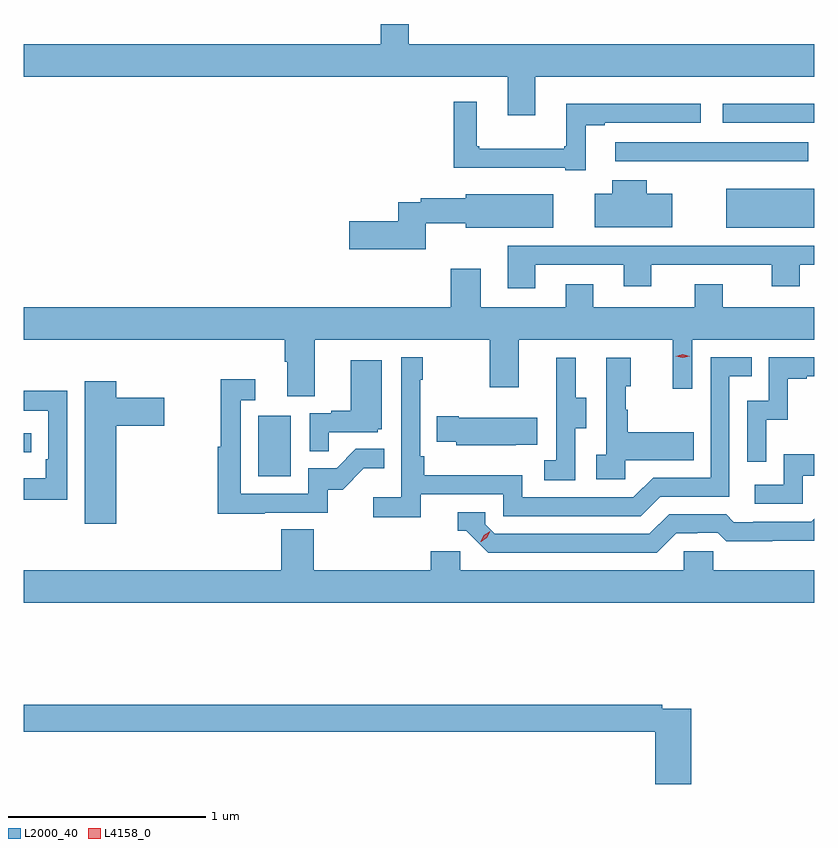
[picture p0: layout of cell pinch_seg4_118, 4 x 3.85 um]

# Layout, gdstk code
import gdstk
lib = gdstk.Library(unit=1e-6, precision=1e-09)
def R(c, l, rs):  # rectangles x0, y0, x1, y1
    for r in rs: c.add(gdstk.rectangle(r[:2], r[2:], *l))
def P(c, l, *ps):  # polygons
    for p in ps: c.add(gdstk.Polygon(p, *l))
L2000_40 = (2000, 40)
L4158_0 = (4158, 0)

pinch_seg4_118 = lib.new_cell('pinch_seg4_118')
R(pinch_seg4_118, L2000_40, [(1065.752,792.132,1065.916,792.439), (1064.566,792.255,1064.602,792.351), (1068.122,793.391,1068.566,793.588), (1068.105,793.923,1068.566,794.02)])
P(pinch_seg4_118, L2000_40, [(1067.155,794.156),(1068.566,794.156),(1068.566,794.32),(1066.513,794.32),(1066.513,794.423),(1066.373,794.423),(1066.373,794.32),(1064.566,794.32),(1064.566,794.156),(1067.015,794.156),(1067.015,793.962),(1067.155,793.962)],
  [(1067.41,793.911),(1067.506,793.911),(1067.506,793.923),(1067.992,793.923),(1067.992,794.02),(1067.312,794.02),(1067.312,793.804),(1067.301,793.804),(1067.301,793.792),(1066.87,793.792),(1066.87,793.804),(1066.858,793.804),(1066.858,794.029),(1066.741,794.029),(1066.741,793.694),(1067.306,793.694),(1067.306,793.683),(1067.41,793.683)],
  [(1068.538,793.824),(1067.559,793.824),(1067.559,793.728),(1067.844,793.728),(1067.844,793.727),(1068.538,793.727)],
  [(1067.848,793.564),(1067.718,793.564),(1067.718,793.633),(1067.545,793.633),(1067.545,793.564),(1067.456,793.564),(1067.456,793.394),(1067.848,793.394)],
  [(1066.6,793.413),(1066.802,793.413),(1066.802,793.391),(1067.245,793.391),(1067.245,793.561),(1066.802,793.561),(1066.802,793.541),(1066.576,793.541),(1066.576,793.521),(1066.46,793.521),(1066.46,793.424),(1066.212,793.424),(1066.212,793.282),(1066.6,793.282)],
  [(1067.155,793.203),(1067.603,793.203),(1067.603,793.094),(1067.743,793.094),(1067.743,793.203),(1068.353,793.203),(1068.353,793.094),(1068.493,793.094),(1068.493,793.203),(1068.566,793.203),(1068.566,793.299),(1067.015,793.299),(1067.015,793.086),(1067.155,793.086)],
  [(1066.039,792.824),(1066.924,792.824),(1066.924,792.585),(1067.071,792.585),(1067.071,792.824),(1067.852,792.824),(1067.852,792.576),(1067.949,792.576),(1067.949,792.824),(1068.566,792.824),(1068.566,792.988),(1068.103,792.988),(1068.103,793.105),(1067.963,793.105),(1067.963,792.988),(1067.449,792.988),(1067.449,793.105),(1067.309,793.105),(1067.309,792.988),(1066.879,792.988),(1066.879,793.183),(1066.727,793.183),(1066.727,792.988),(1064.566,792.988),(1064.566,792.824),(1065.887,792.824),(1065.887,792.712),(1065.899,792.712),(1065.899,792.538),(1066.039,792.538)],
  [(1066.574,792.042),(1066.992,792.042),(1066.992,791.931),(1067.689,791.931),(1067.788,792.03),(1068.138,792.03),(1068.138,792.639),(1068.251,792.639),(1068.251,792.735),(1068.042,792.735),(1068.042,792.126),(1067.751,792.126),(1067.652,792.027),(1067.088,792.027),(1067.088,792.139),(1066.592,792.139),(1066.592,792.235),(1066.572,792.235),(1066.572,792.623),(1066.585,792.623),(1066.585,792.736),(1066.476,792.736),(1066.476,792.028),(1066.335,792.028),(1066.335,791.926),(1066.574,791.926)],
  [(1068.324,792.419),(1068.434,792.419),(1068.434,792.627),(1068.529,792.627),(1068.529,792.639),(1068.566,792.639),(1068.566,792.735),(1068.336,792.735),(1068.336,792.516),(1068.228,792.516),(1068.228,792.207),(1068.324,792.207)],
  [(1067.61,792.215),(1067.957,792.215),(1067.957,792.355),(1067.623,792.355),(1067.623,792.47),(1067.613,792.47),(1067.613,792.588),(1067.638,792.588),(1067.638,792.733),(1067.514,792.733),(1067.514,792.242),(1067.463,792.242),(1067.463,792.117),(1067.61,792.117)],
  [(1067.358,792.376),(1067.413,792.376),(1067.413,792.531),(1067.359,792.531),(1067.359,792.733),(1067.261,792.733),(1067.261,792.519),(1067.262,792.519),(1067.262,792.215),(1067.199,792.215),(1067.199,792.112),(1067.358,792.112)],
  [(1066.109,792.357),(1066.356,792.357),(1066.356,792.372),(1066.378,792.372),(1066.378,792.721),(1066.22,792.721),(1066.22,792.466),(1066.121,792.466),(1066.121,792.453),(1066.014,792.453),(1066.014,792.259),(1066.109,792.259)],
  [(1065.785,791.949),(1066.104,791.949),(1066.104,792.066),(1066.18,792.066),(1066.287,792.173),(1066.391,792.173),(1066.391,792.272),(1066.247,792.272),(1066.149,792.174),(1066.005,792.174),(1066.005,792.045),(1065.663,792.045),(1065.663,792.519),(1065.736,792.519),(1065.736,792.625),(1065.562,792.625),(1065.562,792.282),(1065.547,792.282),(1065.547,791.944),(1065.785,791.944)],
  [(1065.034,792.389),(1065.277,792.389),(1065.277,792.531),(1065.034,792.531),(1065.034,792.613),(1064.873,792.613),(1064.873,791.892),(1065.034,791.892)],
  [(1064.784,792.566),(1064.566,792.566),(1064.566,792.465),(1064.688,792.465),(1064.688,792.22),(1064.675,792.22),(1064.675,792.124),(1064.566,792.124),(1064.566,792.015),(1064.784,792.015)],
  [(1067.057,792.293),(1067.165,792.293),(1067.165,792.43),(1066.768,792.43),(1066.768,792.438),(1066.657,792.438),(1066.657,792.308),(1066.755,792.308),(1066.755,792.29),(1067.057,792.29)],
  [(1068.51,792.135),(1068.566,792.135),(1068.566,792.244),(1068.414,792.244),(1068.414,792.09),(1068.267,792.09),(1068.267,791.994),(1068.51,791.994)],
  [(1067.869,791.844),(1067.976,791.844),(1067.976,791.847),(1068.079,791.847),(1068.121,791.805),(1068.354,791.805),(1068.354,791.807),(1068.566,791.807),(1068.566,791.918),(1068.552,791.904),(1068.259,791.904),(1068.259,791.901),(1068.16,791.901),(1068.121,791.94),(1067.832,791.94),(1067.733,791.841),(1066.95,791.841),(1066.902,791.889),(1066.902,791.952),(1066.763,791.952),(1066.763,791.856),(1066.806,791.856),(1066.917,791.745),(1067.77,791.745)],
  [(1068.566,791.656),(1068.057,791.656),(1068.057,791.754),(1067.907,791.754),(1067.907,791.656),(1066.776,791.656),(1066.776,791.754),(1066.625,791.754),(1066.625,791.656),(1066.034,791.656),(1066.034,791.864),(1065.869,791.864),(1065.869,791.656),(1064.566,791.656),(1064.566,791.492),(1068.566,791.492)],
  [(1067.945,790.956),(1067.798,790.956),(1067.798,790.976),(1064.566,790.976),(1064.566,790.84),(1067.762,790.84),(1067.762,790.575),(1067.945,790.575)])
P(pinch_seg4_118, L4158_0, [(1067.902,792.732),(1067.866,792.742),(1067.866,792.742),(1067.866,792.742),(1067.902,792.752),(1067.937,792.742),(1067.938,792.741),(1067.937,792.741)],
  [(1066.879,791.802),(1066.879,791.803),(1066.895,791.835),(1066.926,791.855),(1066.926,791.855),(1066.926,791.855),(1066.91,791.822),(1066.88,791.802)])

lib.write_gds('pinch_seg4_118.gds')
